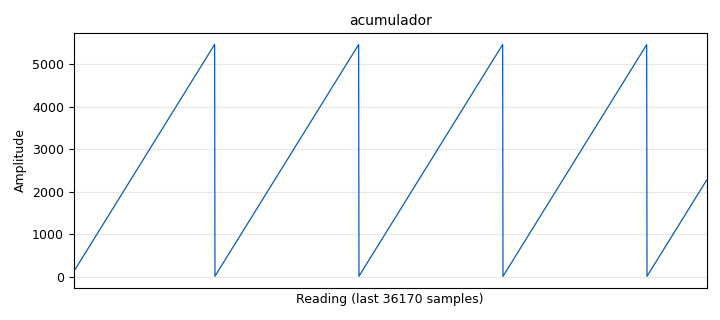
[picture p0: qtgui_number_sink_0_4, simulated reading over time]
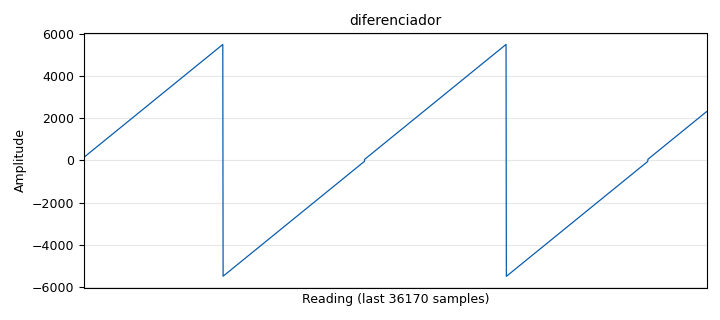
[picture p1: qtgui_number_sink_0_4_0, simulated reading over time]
options:
  parameters:
    generate_options: qt_gui
    id: practica1_p12
    output_language: python
    title: practica1_p12
  states: {}

blocks:
- name: samp_rate
  id: variable
  parameters:
    value: '32000'
  states: {}
- name: blocks_vector_source_x_0_0
  id: blocks_vector_source_x
  parameters:
    repeat: 'True'
    type: float
    vector: (1,2,-1)
  states: {}
- name: epy_block_0
  id: epy_block
  parameters:
    _source_code: |
      import numpy as np
      from gnuradio import gr

      class blk (gr. sync_block ):
      	def __init__ ( self ) : # only default arguments here
      		gr. sync_block . __init__ (
      			self ,
      			name ='e_Acum', # will show up in GRC
      			in_sig =[ np. float32 ],
      			out_sig =[ np. float32 ]
      		)
      	def work (self , input_items , output_items ):
      		x = input_items [0] # Senial de entrada .
      		y0 = output_items [0] # Senial acumulada
      		y0 [:] = np. cumsum (x)
      		return len (y0)
  states: {}
- name: epy_block_1
  id: epy_block
  parameters:
    _source_code: |
      import numpy as np
      from gnuradio import gr

      class blk (gr.sync_block ):
      	def __init__ ( self ) : # only default arguments here
      		gr.sync_block.__init__ (
      			self ,
      			name ='e_Diff', # will show up in GRC
      			in_sig =[ np.float32 ],
      			out_sig =[ np.float32 ]
      		)
      		self.acum_anterior = 0
      		
      	def work (self , input_items , output_items ):
      		x = input_items [0] # Senial de entrada.
      		y0 = output_items [0] # Senial acumulada diferencial
      		N = len (x)
      		diff = np.cumsum (x) - self.acum_anterior
      		self.acum_anterior = diff[N -1]
      		y0 [:] = diff
      		return len (y0)
  states: {}
- name: qtgui_number_sink_0_4
  id: qtgui_number_sink
  parameters:
    graph_type: qtgui.NUM_GRAPH_HORIZ
    max: '10'
    min: '-10'
    name: acumulador
    type: float
  states: {}
- name: qtgui_number_sink_0_4_0
  id: qtgui_number_sink
  parameters:
    graph_type: qtgui.NUM_GRAPH_HORIZ
    max: '10'
    min: '-10'
    name: diferenciador
    type: float
  states: {}

connections:
- [blocks_vector_source_x_0_0, '0', epy_block_0, '0']
- [blocks_vector_source_x_0_0, '0', epy_block_1, '0']
- [epy_block_0, '0', qtgui_number_sink_0_4, '0']
- [epy_block_1, '0', qtgui_number_sink_0_4_0, '0']

metadata:
  file_format: 1
  grc_version: 3.9.8.0
